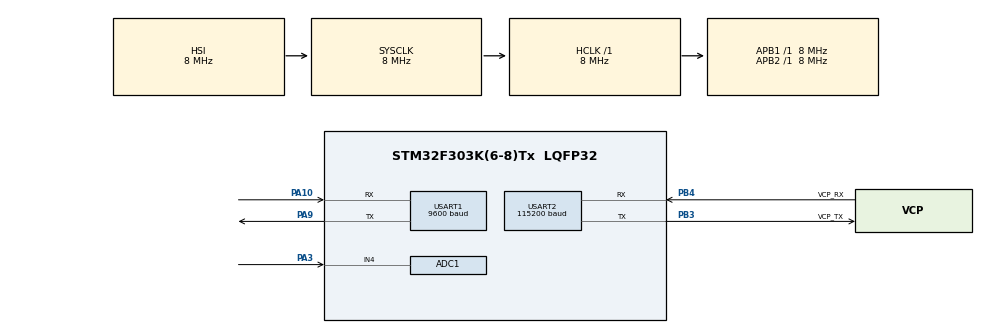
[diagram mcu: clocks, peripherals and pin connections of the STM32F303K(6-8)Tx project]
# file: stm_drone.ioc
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ADC1.Channel-0\#ChannelRegularConversion=ADC_CHANNEL_4
ADC1.NbrOfConversionFlag=1
ADC1.Offset-0\#ChannelRegularConversion=0
ADC1.OffsetNumber-0\#ChannelRegularConversion=ADC_OFFSET_NONE
ADC1.Rank-0\#ChannelRegularConversion=1
ADC1.SamplingTime-0\#ChannelRegularConversion=ADC_SAMPLETIME_1CYCLE_5
ADC1.SamplingTimeOPAMP-0\#ChannelRegularConversion=ADC_SAMPLETIME_4CYCLES_5
ADC1.SubFamily=STM32F303x8
ADC1.master=1
Mcu.Family=STM32F3
Mcu.Name=STM32F303K(6-8)Tx
Mcu.Package=LQFP32
NVIC.PriorityGroup=NVIC_PRIORITYGROUP_4
PA10.Mode=Asynchronous
PA10.Signal=USART1_RX
PA13.GPIO_Label=SWDIO
PA13.Mode=Serial_Wire
PA13.Signal=SYS_JTMS-SWDIO
PA14.GPIO_Label=SWCLK
PA14.Mode=Serial_Wire
PA14.Signal=SYS_JTCK-SWCLK
PA3.Mode=IN4-Single-Ended
PA3.Signal=ADC1_IN4
PA9.Mode=Asynchronous
PA9.Signal=USART1_TX
PB3.GPIO_Label=VCP_TX
PB3.Mode=Asynchronous
PB3.Signal=USART2_TX
PB4.GPIO_Label=VCP_RX
PB4.Mode=Asynchronous
PB4.Signal=USART2_RX
PF0\ /\ OSC_IN.GPIO_Label=MCO
PF0\ /\ OSC_IN.Mode=HSE-External-Clock-Source
PF0\ /\ OSC_IN.Signal=RCC_OSC_IN
ProjectManager.HeapSize=0x200
ProjectManager.StackSize=0x400
ProjectManager.TargetToolchain=STM32CubeIDE
RCC.AHBFreq_Value=8000000
RCC.APB1Freq_Value=8000000
RCC.APB2Freq_Value=8000000
RCC.CortexFreq_Value=8000000
RCC.HSE_VALUE=8000000
RCC.HSI_VALUE=8000000
RCC.PLLMUL=RCC_PLL_MUL4
RCC.SYSCLKFreq_VALUE=8000000
USART1.BaudRate=9600
USART1.VirtualMode-Asynchronous=VM_ASYNC
USART2.BaudRate=115200
USART2.VirtualMode-Asynchronous=VM_ASYNC
board=NUCLEO-F303K8

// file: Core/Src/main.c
/* USER CODE BEGIN Header */
/**
  ******************************************************************************
  * @file           : main.c
  * @brief          : Main program body
  ******************************************************************************
  * @attention
  *
  * Copyright (c) 2025 STMicroelectronics.
  * All rights reserved.
  *
  * This software is licensed under terms that can be found in the LICENSE file
  * in the root directory of this software component.
  * If no LICENSE file comes with this software, it is provided AS-IS.
  *
  ******************************************************************************
  */
/* USER CODE END Header */
#include "main.h"

/* USER CODE BEGIN Includes */
#include <math.h>
#include "stdio.h"
#include "string.h"
#include <stdlib.h>
/* USER CODE END Includes */

ADC_HandleTypeDef hadc1;

UART_HandleTypeDef huart1;
UART_HandleTypeDef huart2;

/* USER CODE BEGIN PV */
#define GPS_BUFFER_SIZE 100
#define COMBINED_BUFFER_SIZE 512
uint8_t gps_rx_buffer[GPS_BUFFER_SIZE]; // Re-enabled for full sentence reception
uint16_t gps_rx_index = 0; // Re-enabled for full sentence reception
uint8_t c; // Buffer for single character reception
uint32_t adc_value;
float voltage;
float db;
volatile uint8_t uart2_busy = 0;
char combined_buffer[COMBINED_BUFFER_SIZE];
char msg[32];
char msgtest[35];
// Variables pour le parsing GPS
char latitude[16] = "";
char lat_dir = ' ';
char longitude[16] = "";
char lon_dir = ' ';
char altitude[16] = "";
char temp_buffer[GPS_BUFFER_SIZE];
char altitude_str[16] = "";

/* USER CODE END PV */

void SystemClock_Config(void);
static void MX_GPIO_Init(void);
static void MX_USART1_UART_Init(void);
static void MX_USART2_UART_Init(void);
static void MX_ADC1_Init(void);

int main(void)
{

  /* MCU Configuration--------------------------------------------------------*/

  /* Reset of all peripherals, Initializes the Flash interface and the Systick. */
  HAL_Init();

  /* USER CODE BEGIN Init */
  // Exemple : SoftUART numéro 0, TX = PB3, RX = PB7

  /* USER CODE END Init */

  /* Configure the system clock */
  SystemClock_Config();

  /* Initialize all configured peripherals */
  MX_GPIO_Init();
  MX_USART1_UART_Init();
  MX_USART2_UART_Init();
  MX_ADC1_Init();
  /* USER CODE BEGIN 2 */

  //uint32_t last_test_transmit_time = HAL_GetTick(); // For test transmission

  while (1) {
      // Sound Sensor reading (periodic)
      HAL_ADC_Start(&hadc1);
      if (HAL_ADC_PollForConversion(&hadc1, 100) == HAL_OK) {
          adc_value = HAL_ADC_GetValue(&hadc1);
          voltage = (adc_value / 4095.0f) * 3.3f;
          db = 20.0f * log10f(voltage / 0.01f);
      }

      // GPS Data Handling
      uint8_t c;
      if (HAL_UART_Receive(&huart1, &c, 1, 10) == HAL_OK) {
          // Store character if buffer has space
          if (gps_rx_index < GPS_BUFFER_SIZE - 1) {
              gps_rx_buffer[gps_rx_index++] = c;
          }

          // Process when line ends or buffer full
          if (c == '\n' || gps_rx_index >= GPS_BUFFER_SIZE - 1) {
              gps_rx_buffer[gps_rx_index] = '\0'; // Null-terminate

              // Parse and process valid GGA sentences
              if (strstr((char*)gps_rx_buffer, "$GPGGA") != NULL) {
                  if (strstr((char*)gps_rx_buffer, ",V,") == NULL) {  // Skip invalid data
                      char local_gps_buffer[GPS_BUFFER_SIZE * 2];
                      strncpy(local_gps_buffer, (char*)gps_rx_buffer, GPS_BUFFER_SIZE-1);
                      local_gps_buffer[GPS_BUFFER_SIZE-1] = '\0';

                      char latitude[32] = "";
                      char longitude[32] = "";
                      char lat_dir = 'N';
                      char lon_dir = 'E';
                      char fix_quality = '0';
                      char altitude_str[32] = "";
                      float altitude = 0.0f;

                      char *token = strtok(local_gps_buffer, ",");
                      int field = 0;
                      while (token != NULL) {
                          switch (field) {
                              case 2: strncpy(latitude, token, sizeof(latitude)-1); latitude[sizeof(latitude)-1] = '\0'; break;
                              case 3: lat_dir = token[0]; break;
                              case 4: strncpy(longitude, token, sizeof(longitude)-1); longitude[sizeof(longitude)-1] = '\0'; break;
                              case 5: lon_dir = token[0]; break;
                              case 6: fix_quality = token[0]; break;
                              case 9:
                                  strncpy(altitude_str, token, sizeof(altitude_str)-1);
                                  altitude_str[sizeof(altitude_str)-1] = '\0';
                                  altitude = atof(altitude_str);
                                  break;
                          }
                          token = strtok(NULL, ",");
                          field++;
                      }

                      // Conversion des coordonnées GPS et transmission des données
                      if (fix_quality > '0' && strlen(latitude) > 0 && strlen(longitude) > 0) {
                          // Conversion latitude : format NMEA ddmm.mmmm en degrés décimaux
                          int lat_deg = 0;
                          float lat_min = 0.0f;
                          sscanf(latitude, "%2d%f", &lat_deg, &lat_min);
                          float lat_decimal = lat_deg + (lat_min / 60.0f);
                          if (lat_dir == 'S') lat_decimal = -lat_decimal;

                          // Conversion longitude : format NMEA dddmm.mmmm en degrés décimaux
                          int lon_deg = 0;
                          float lon_min = 0.0f;
                          sscanf(longitude, "%3d%f", &lon_deg, &lon_min);
                          float lon_decimal = lon_deg + (lon_min / 60.0f);
                          if (lon_dir == 'W') lon_decimal = -lon_decimal;

                          // Transmission de la trame formatée avec les données GPS et sonores
                          snprintf(combined_buffer, COMBINED_BUFFER_SIZE,
                                 "Lat:%.7f, Lon:%.7f, Alt:%.2fm | Son:%.1f dB\r\n",
                                 lat_decimal, lon_decimal, altitude, db);
                          HAL_UART_Transmit(&huart2, (uint8_t*)combined_buffer, strlen(combined_buffer), HAL_MAX_DELAY);
                      } else {
                          snprintf(combined_buffer, COMBINED_BUFFER_SIZE,
                                 "GPS INVALID FIX | Son:%.1f dB\r\n", db);
                          HAL_UART_Transmit(&huart2, (uint8_t*)combined_buffer, strlen(combined_buffer), HAL_MAX_DELAY);
                      }
                  }
              }
              gps_rx_index = 0; // Reset buffer
          }
      }
  }
  /* USER CODE END 2 */

  /* Infinite loop */

}

void SystemClock_Config(void)
{
  RCC_OscInitTypeDef RCC_OscInitStruct = {0};
  RCC_ClkInitTypeDef RCC_ClkInitStruct = {0};
  RCC_PeriphCLKInitTypeDef PeriphClkInit = {0};

  /** Initializes the RCC Oscillators according to the specified parameters
  * in the RCC_OscInitTypeDef structure.
  */
  RCC_OscInitStruct.OscillatorType = RCC_OSCILLATORTYPE_HSI;
  RCC_OscInitStruct.HSIState = RCC_HSI_ON;
  RCC_OscInitStruct.HSICalibrationValue = RCC_HSICALIBRATION_DEFAULT;
  RCC_OscInitStruct.PLL.PLLState = RCC_PLL_ON;
  RCC_OscInitStruct.PLL.PLLSource = RCC_PLLSOURCE_HSI;
  RCC_OscInitStruct.PLL.PLLMUL = RCC_PLL_MUL4;
  if (HAL_RCC_OscConfig(&RCC_OscInitStruct) != HAL_OK)
  {
    Error_Handler();
  }

  /** Initializes the CPU, AHB and APB buses clocks
  */
  RCC_ClkInitStruct.ClockType = RCC_CLOCKTYPE_HCLK|RCC_CLOCKTYPE_SYSCLK
                              |RCC_CLOCKTYPE_PCLK1|RCC_CLOCKTYPE_PCLK2;
  RCC_ClkInitStruct.SYSCLKSource = RCC_SYSCLKSOURCE_HSI;
  RCC_ClkInitStruct.AHBCLKDivider = RCC_SYSCLK_DIV1;
  RCC_ClkInitStruct.APB1CLKDivider = RCC_HCLK_DIV1;
  RCC_ClkInitStruct.APB2CLKDivider = RCC_HCLK_DIV1;

  if (HAL_RCC_ClockConfig(&RCC_ClkInitStruct, FLASH_LATENCY_0) != HAL_OK)
  {
    Error_Handler();
  }
  PeriphClkInit.PeriphClockSelection = RCC_PERIPHCLK_USART1|RCC_PERIPHCLK_ADC12;
  PeriphClkInit.Usart1ClockSelection = RCC_USART1CLKSOURCE_PCLK1;
  PeriphClkInit.Adc12ClockSelection = RCC_ADC12PLLCLK_DIV1;
  if (HAL_RCCEx_PeriphCLKConfig(&PeriphClkInit) != HAL_OK)
  {
    Error_Handler();
  }
}

static void MX_ADC1_Init(void)
{

  ADC_MultiModeTypeDef multimode = {0};
  ADC_ChannelConfTypeDef sConfig = {0};

  /** Common config
  */
  hadc1.Instance = ADC1;
  hadc1.Init.ClockPrescaler = ADC_CLOCK_ASYNC_DIV1;
  hadc1.Init.Resolution = ADC_RESOLUTION_12B;
  hadc1.Init.ScanConvMode = ADC_SCAN_DISABLE;
  hadc1.Init.ContinuousConvMode = DISABLE;
  hadc1.Init.DiscontinuousConvMode = DISABLE;
  hadc1.Init.ExternalTrigConvEdge = ADC_EXTERNALTRIGCONVEDGE_NONE;
  hadc1.Init.ExternalTrigConv = ADC_SOFTWARE_START;
  hadc1.Init.DataAlign = ADC_DATAALIGN_RIGHT;
  hadc1.Init.NbrOfConversion = 1;
  hadc1.Init.DMAContinuousRequests = DISABLE;
  hadc1.Init.EOCSelection = ADC_EOC_SINGLE_CONV;
  hadc1.Init.LowPowerAutoWait = DISABLE;
  hadc1.Init.Overrun = ADC_OVR_DATA_OVERWRITTEN;
  if (HAL_ADC_Init(&hadc1) != HAL_OK)
  {
    Error_Handler();
  }

  /** Configure the ADC multi-mode
  */
  multimode.Mode = ADC_MODE_INDEPENDENT;
  if (HAL_ADCEx_MultiModeConfigChannel(&hadc1, &multimode) != HAL_OK)
  {
    Error_Handler();
  }

  /** Configure Regular Channel
  */
  sConfig.Channel = ADC_CHANNEL_4;
  sConfig.Rank = ADC_REGULAR_RANK_1;
  sConfig.SingleDiff = ADC_SINGLE_ENDED;
  sConfig.SamplingTime = ADC_SAMPLETIME_1CYCLE_5;
  sConfig.OffsetNumber = ADC_OFFSET_NONE;
  sConfig.Offset = 0;
  if (HAL_ADC_ConfigChannel(&hadc1, &sConfig) != HAL_OK)
  {
    Error_Handler();
  }

}

static void MX_USART1_UART_Init(void)
{

  huart1.Instance = USART1;
  huart1.Init.BaudRate = 9600;
  huart1.Init.WordLength = UART_WORDLENGTH_8B;
  huart1.Init.StopBits = UART_STOPBITS_1;
  huart1.Init.Parity = UART_PARITY_NONE;
  huart1.Init.Mode = UART_MODE_TX_RX;
  huart1.Init.HwFlowCtl = UART_HWCONTROL_NONE;
  huart1.Init.OverSampling = UART_OVERSAMPLING_16;
  huart1.Init.OneBitSampling = UART_ONE_BIT_SAMPLE_DISABLE;
  huart1.AdvancedInit.AdvFeatureInit = UART_ADVFEATURE_NO_INIT;
  if (HAL_UART_Init(&huart1) != HAL_OK)
  {
    Error_Handler();
  }

}

static void MX_USART2_UART_Init(void)
{

  huart2.Instance = USART2;
  huart2.Init.BaudRate = 115200;
  huart2.Init.WordLength = UART_WORDLENGTH_8B;
  huart2.Init.StopBits = UART_STOPBITS_1;
  huart2.Init.Parity = UART_PARITY_NONE;
  huart2.Init.Mode = UART_MODE_TX_RX;
  huart2.Init.HwFlowCtl = UART_HWCONTROL_NONE;
  huart2.Init.OverSampling = UART_OVERSAMPLING_16;
  huart2.Init.OneBitSampling = UART_ONE_BIT_SAMPLE_DISABLE;
  huart2.AdvancedInit.AdvFeatureInit = UART_ADVFEATURE_NO_INIT;
  if (HAL_UART_Init(&huart2) != HAL_OK)
  {
    Error_Handler();
  }

}

static void MX_GPIO_Init(void)
{

  /* GPIO Ports Clock Enable */
  __HAL_RCC_GPIOF_CLK_ENABLE();
  __HAL_RCC_GPIOA_CLK_ENABLE();
  __HAL_RCC_GPIOB_CLK_ENABLE();

}

void Error_Handler(void)
{
  __disable_irq();
  while (1)
  {
  }
}
